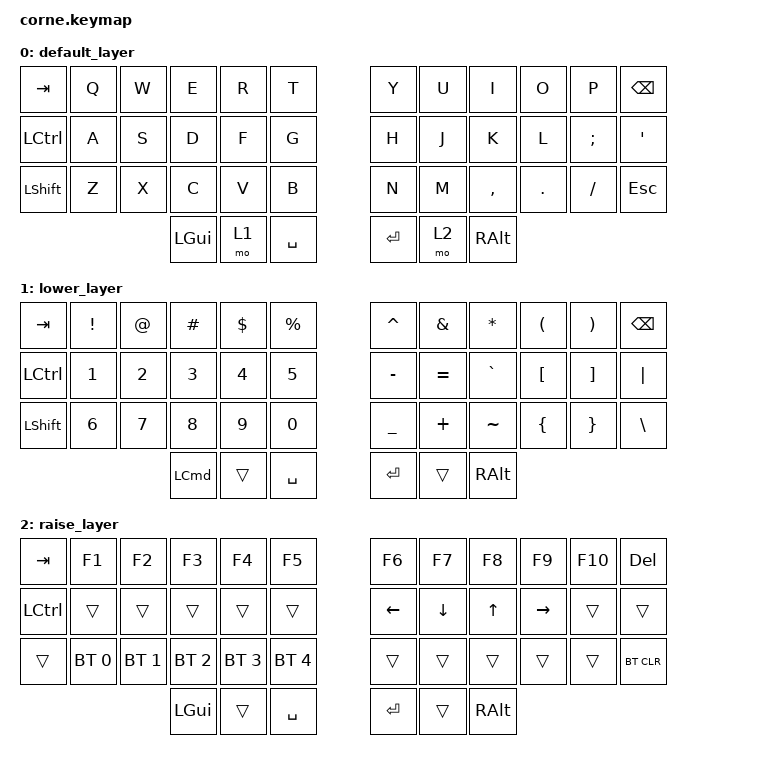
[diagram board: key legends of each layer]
/*
 * Copyright (c) 2020 The ZMK Contributors
 *
 * SPDX-License-Identifier: MIT
 */

#include <behaviors.dtsi>
#include <dt-bindings/zmk/bt.h>
#include <dt-bindings/zmk/keys.h>

/ {
    keymap {
        compatible = "zmk,keymap";

        default_layer {
            // -----------------------------------------------------------------------------------------
            // |  TAB |  Q  |  W  |  E  |  R  |  T  |   |  Y  |  U   |  I  |  O  |  P  | BKSP |
            // | CTRL |  A  |  S  |  D  |  F  |  G  |   |  H  |  J   |  K  |  L  |  ;  |  '   |
            // | SHFT |  Z  |  X  |  C  |  V  |  B  |   |  N  |  M   |  ,  |  .  |  /  | ESC  |
            //                    | GUI | LWR | SPC |   | ENT | RSE  | ALT |

            bindings = <
&kp TAB    &kp Q  &kp W  &kp E     &kp R  &kp T        &kp Y    &kp U  &kp I      &kp O    &kp P     &kp BSPC
&kp LCTRL  &kp A  &kp S  &kp D     &kp F  &kp G        &kp H    &kp J  &kp K      &kp L    &kp SEMI  &kp SQT
&kp LSHFT  &kp Z  &kp X  &kp C     &kp V  &kp B        &kp N    &kp M  &kp COMMA  &kp DOT  &kp FSLH  &kp ESC
                         &kp LGUI  &mo 1  &kp SPACE    &kp RET  &mo 2  &kp RALT
            >;
        };

        lower_layer {
            // -----------------------------------------------------------------------------------------
            // |  TAB |  1  |  2  |  3  |  4  |  5  |   |  6  |  7  |  8  |  9  |  0  | BKSP |
            // | BTCLR| BT1 | BT2 | BT3 | BT4 | BT5 |   | LFT | DWN |  UP | RGT |     |      |
            // | SHFT |     |     |     |     |     |   |     |     |     |     |     |      |
            //                    | GUI |     | SPC |   | ENT |     | ALT |

            bindings = <
&kp TAB    &kp EXCLAMATION  &kp AT_SIGN   &kp HASH          &kp DOLLAR    &kp PERCENT    &kp CARET       &kp AMPERSAND  &kp ASTERISK  &kp LEFT_PARENTHESIS  &kp RIGHT_PARENTHESIS  &kp BSPC
&kp LCTRL  &kp NUMBER_1     &kp NUMBER_2  &kp NUMBER_3      &kp NUMBER_4  &kp N5         &kp MINUS       &kp EQUAL      &kp GRAVE     &kp LEFT_BRACKET      &kp RIGHT_BRACKET      &kp PIPE
&kp LSHFT  &kp NUMBER_6     &kp N7        &kp N8            &kp N9        &kp N0         &kp UNDERSCORE  &kp PLUS       &kp TILDE     &kp LEFT_BRACE        &kp RIGHT_BRACE        &kp BACKSLASH
                                          &kp LEFT_COMMAND  &trans        &kp SPACE      &kp RET         &trans         &kp RALT
            >;
        };

        raise_layer {
            // -----------------------------------------------------------------------------------------
            // |  TAB |  !  |  @  |  #  |  $  |  %  |   |  ^  |  &  |  *  |  (  |  )  | BKSP |
            // | CTRL |     |     |     |     |     |   |  -  |  =  |  [  |  ]  |  \  |  `   |
            // | SHFT |     |     |     |     |     |   |  _  |  +  |  {  |  }  | "|" |  ~   |
            //                    | GUI |     | SPC |   | ENT |     | ALT |

            bindings = <
&kp TAB    &kp F1        &kp F2        &kp F3        &kp F4        &kp F5          &kp F6          &kp F7          &kp F8        &kp F9     &kp F10  &kp DEL
&kp LCTRL  &trans        &trans        &trans        &trans        &trans          &kp LEFT_ARROW  &kp DOWN_ARROW  &kp UP_ARROW  &kp RIGHT  &trans   &trans
&trans     &bt BT_SEL 0  &bt BT_SEL 1  &bt BT_SEL 2  &bt BT_SEL 3  &bt BT_SEL 4    &trans          &trans          &trans        &trans     &trans   &bt BT_CLR
                                       &kp LGUI      &trans        &kp SPACE       &kp RET         &trans          &kp RALT
            >;
        };
    };
};
